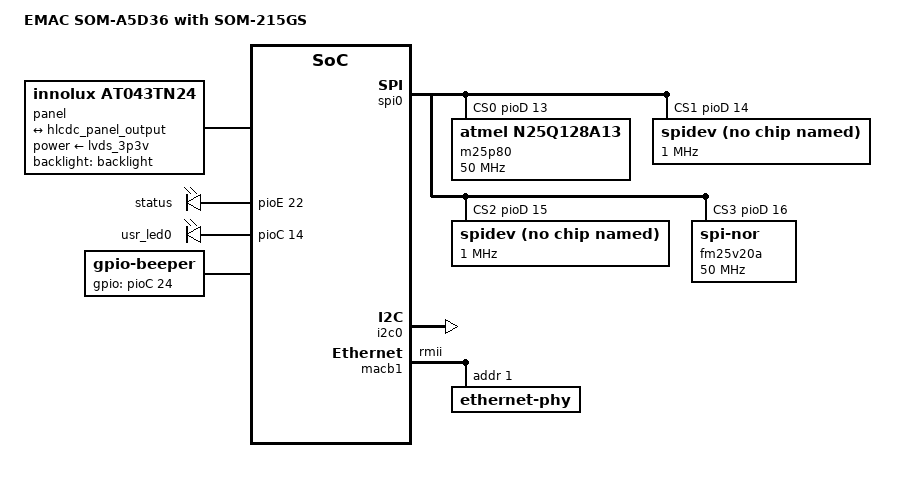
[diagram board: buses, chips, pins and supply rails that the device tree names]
/*
 * som-a5d36-200gs.dts - Device Tree file for the SoM-A5D36 / SoM-200GS.
 *
 *  Copyright (C) 2015 EMAC Inc.
 *
 * Licensed under GPLv2 or later.
 */
/dts-v1/;
#include "som-a5d36.dtsi"

/ {
	model = "EMAC SOM-A5D36 with SOM-215GS";

	ahb {
		apb {
			pinctrl@fffff200 {
				led {
					pinctrl_led: led-board {
						atmel,pins =
							<AT91_PIOE 22 AT91_PERIPH_GPIO AT91_PINCTRL_NONE
							 AT91_PIOC 14 AT91_PERIPH_GPIO AT91_PINCTRL_NONE>;
					};
				};
			};

			spi0: spi@f0004000 {
				cs-gpios = <&pioD 13 0>, <&pioD 14 0>, <&pioD 15 0>, <&pioD 16 0>;
				status = "okay";
				m25p80@0 {
					compatible = "atmel,n25q128a13";
					spi-max-frequency = <50000000>;
					reg = <0>;
				};
				spidev@1 {
					compatible = "emac,spidev";
					spi-max-frequency = <1000000>;
					reg = <1>;
					status = "okay";
				};
				spidev@2 {
					compatible = "emac,spidev";
					spi-max-frequency = <1000000>;
					reg = <2>;
					status = "okay";
				};
				fm25v20a@3 {
					compatible = "jedec,spi-nor";
					spi-max-frequency = <50000000>;
					reg = <3>;
				};
			};

			i2c0: i2c@f0014000 {
				status = "okay";
			};

			macb1: ethernet@f802c000 {
				phy-mode = "rmii";
				status = "okay";

				#address-cells = <1>;
				#size-cells = <0>;

				ethernet-phy@1 {
					reg = <0x1>;
					txen-skew-ps = <800>;
					txc-skew-ps = <3000>;
					rxdv-skew-ps = <400>;
					rxc-skew-ps = <3000>;
					rxd0-skew-ps = <400>;
					rxd1-skew-ps = <400>;
					rxd2-skew-ps = <400>;
					rxd3-skew-ps = <400>;
				};
			};
		};
	};

	panel: panel {
		compatible = "innolux,at043tn24", "simple-panel";
		backlight = <&backlight>;
		power-supply = <&lvds_3p3v>;
		#address-cells = <1>;
		#size-cells = <0>;
		status = "okay";

		port@0 {
			#address-cells = <1>;
			#size-cells = <0>;

			panel_input: endpoint@0 {
				reg = <0>;
				remote-endpoint = <&hlcdc_panel_output>;
			};
		};
	};

	gpio-leds {
		compatible = "gpio-leds";
		pinctrl-names = "default";
		pinctrl-0 = <&pinctrl_led>;
		status {
			label = "status";
			gpios = <&pioE 22 GPIO_ACTIVE_HIGH>;
			default-state = "on";
		};
		usr_led0 {
			label = "usr_led0";
			gpios = <&pioC 14 GPIO_ACTIVE_HIGH>;
			default-state = "on";
		};
	};

	beeper {
		compatible = "gpio-beeper";
		gpios = <&pioC 24 GPIO_ACTIVE_HIGH>;
		status = "okay";
	};
};
